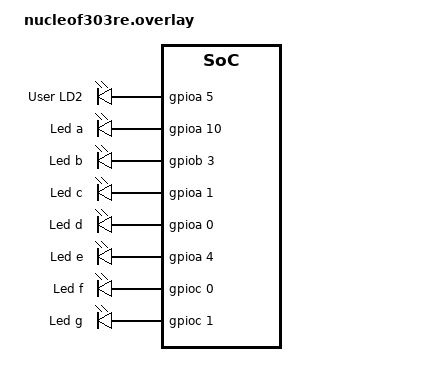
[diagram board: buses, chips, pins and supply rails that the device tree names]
/ {
	leds: leds {
		compatible = "gpio-leds";
		green_led_2: led_2 {
			gpios = <&gpioa 5 GPIO_ACTIVE_HIGH>;
			label = "User LD2";
		};
        led_a: led_a {
			gpios = <&gpioa 10 GPIO_ACTIVE_HIGH>;
			label = "Led a";
		};
        led_b: led_b {
			gpios = <&gpiob 3 GPIO_ACTIVE_HIGH>;
			label = "Led b";
		};
        led_c: led_c {
			gpios = <&gpioa 1 GPIO_ACTIVE_HIGH>;
			label = "Led c";
		};
        led_d: led_d {
			gpios = <&gpioa 0 GPIO_ACTIVE_HIGH>;
			label = "Led d";
		};
        led_e: led_e {
			gpios = <&gpioa 4 GPIO_ACTIVE_HIGH>;
			label = "Led e";
		};
        led_f: led_f {
			gpios = <&gpioc 0 GPIO_ACTIVE_HIGH>;
			label = "Led f";
		};
        led_g: led_g {
			gpios = <&gpioc 1 GPIO_ACTIVE_HIGH>;
			label = "Led g";
		};
	};

	aliases {
		leda = &led_a;
		ledb = &led_b;
		ledc = &led_c;
		ledd = &led_d;
		lede = &led_e;
		ledf = &led_f;
		ledg = &led_g;
	};
};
